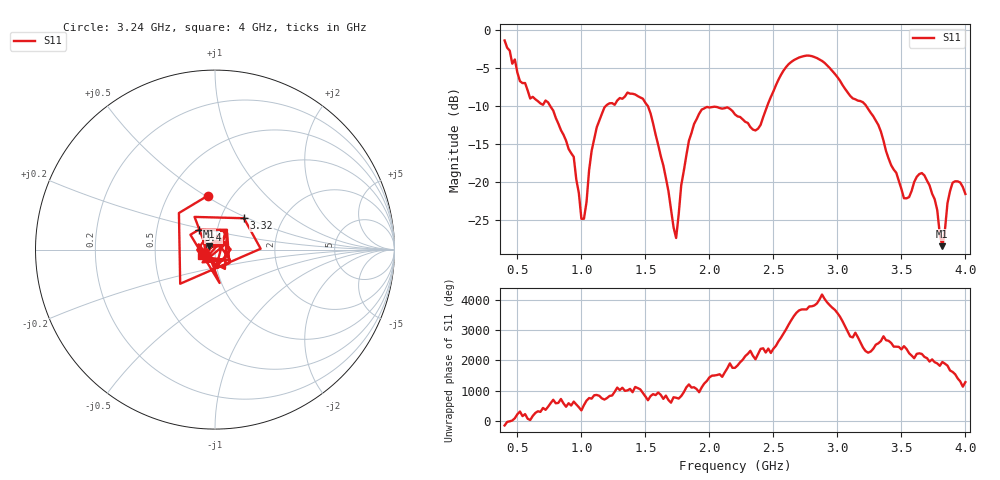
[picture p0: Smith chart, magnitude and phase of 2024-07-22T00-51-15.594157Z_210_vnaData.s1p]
!Created with skrf (http://scikit-rf.org).
# Hz S RI R 50.0
!freq ReS11 ImS11
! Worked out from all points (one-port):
!   181 points, 400 MHz to 4 GHz, reference 50 ohm
!   lowest |S11| = -28.4 dB at 3.82 GHz (marker M1), VSWR 1.08, Z = 46.8 + j1.86 ohm
!   |S11| at or under -10 dB: 756.9 MHz to 1.189 GHz (432.5 MHz wide, 44.4 % of centre); 1.52 GHz to 2.451 GHz (931.2 MHz wide, 46.9 % of centre); 3.226 GHz to end of sweep
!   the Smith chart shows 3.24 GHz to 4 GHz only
!   S11 on the Smith chart (normalised r, x): 3.24 GHz: 0.78, +0.52; 3.32 GHz: 1.28, +0.48; 3.4 GHz: 0.82, +0.18; 4 GHz: 0.86, -0.06
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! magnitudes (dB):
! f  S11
! 400 MHz  -1.3
! 600 MHz  -9.0
! 740 MHz  -9.5
! 860 MHz  -13.8
! 940 MHz  -16.7
! 1 GHz  -24.8
! 1.02 GHz  -24.8
! 1.12 GHz  -12.8
! 1.3 GHz  -8.9
! 1.52 GHz  -10.0
! 1.74 GHz  -27.4
! 1.76 GHz  -24.3
! 1.84 GHz  -14.6
! 1.92 GHz  -11.0
! 2.2 GHz  -11.1
! 2.38 GHz  -13.0
! 2.66 GHz  -3.9
! 2.88 GHz  -4.0
! 3.1 GHz  -8.6
! 3.24 GHz  -10.3
! 3.32 GHz  -12.5
! 3.4 GHz  -16.9
! 3.56 GHz  -22.0
! 3.68 GHz  -19.1
! 3.76 GHz  -22.3
! 3.82 GHz  -28.4
! 3.9 GHz  -20.1
! 4 GHz  -21.6
